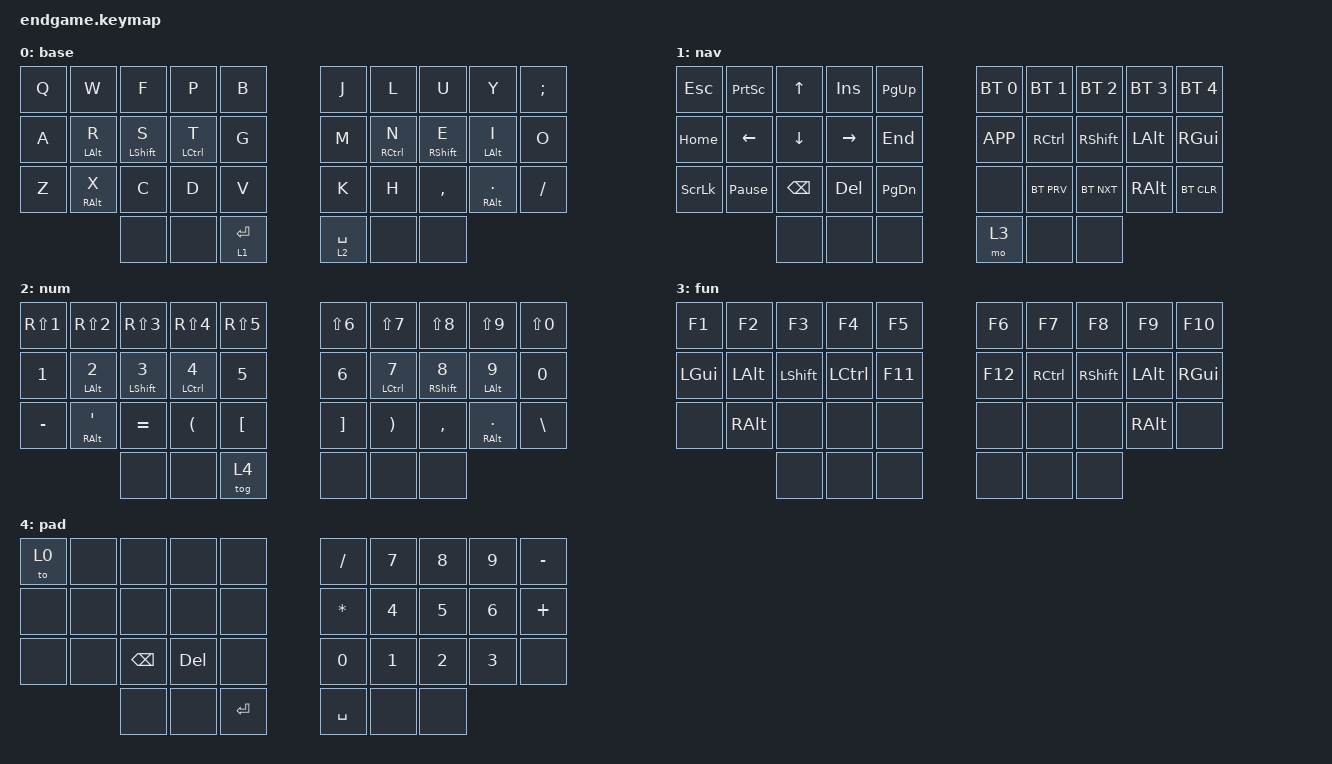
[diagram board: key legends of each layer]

//  ______ _      _____ _   _______ _____   ___  ___  ___ _____ 
//  | ___ \ |    |  ___| \ | |  _  \  __ \ / _ \ |  \/  ||  ___|
//  | |_/ / |    | |__ |  \| | | | | |  \// /_\ \| .  . || |__  
//  | ___ \ |    |  __|| . ` | | | | | __ |  _  || |\/| ||  __| 
//  | |_/ / |____| |___| |\  | |/ /| |_\ \| | | || |  | || |___ 
//  \____/\_____/\____/\_| \_/___/  \____/\_| |_/\_|  |_/\____/ 
//                                                              
//                                                              

/*
 * Copyright (c) 2021 The ZMK Contributors
 *
 * SPDX-License-Identifier: MIT
 */

#include <behaviors.dtsi>
#include <dt-bindings/zmk/keys.h>
#include <dt-bindings/zmk/bt.h>
#include <dt-bindings/zmk/outputs.h>
//#include "keys_de.h"

&caps_word {
    continue-list = <UNDERSCORE MINUS BSPC DEL>;
};

/ {
    behaviors {
        hmlc: homerow_mod_lctrl {
            compatible = "zmk,behavior-hold-tap";
            label = "HOMEROW_MODS";
            #binding-cells = <2>;
            tapping-term-ms = <150>;
            quick-tap-ms = <0>;
            flavor = "balanced";
            hold-trigger-key-positions = <5 6 7 8 9 15 16 17 18 19 25 26 27 28 29>;
            bindings = <&kp>, <&kp>;
        };
        hmrc: homerow_mod_rctrl {
            compatible = "zmk,behavior-hold-tap";
            label = "HOMEROW_MODS";
            #binding-cells = <2>;
            tapping-term-ms = <150>;
            quick-tap-ms = <0>;
            flavor = "balanced";
            hold-trigger-key-positions = <0 1 2 3 4 10 11 12 13 14 20 21 22 23 24>;
            bindings = <&kp>, <&kp>;
        };
        hmls: homerow_mod_lshift {
            compatible = "zmk,behavior-hold-tap";
            label = "HOMEROW_MODS";
            #binding-cells = <2>;
            tapping-term-ms = <150>;
            quick-tap-ms = <0>;
            flavor = "balanced";
            hold-trigger-key-positions = <5 6 7 8 9 15 16 17 18 19 25 26 27 28 29>;
            bindings = <&kp>, <&kp>;
        };
        hmrs: homerow_mod_rshift {
            compatible = "zmk,behavior-hold-tap";
            label = "HOMEROW_MODS";
            #binding-cells = <2>;
            tapping-term-ms = <180>;
            quick-tap-ms = <0>;
            flavor = "balanced";
            hold-trigger-key-positions = <0 1 2 3 4 10 11 12 13 14 20 21 22 23 24>;
            bindings = <&kp>, <&kp>;
        };
        hmg: homerow_mod_gui {
            compatible = "zmk,behavior-hold-tap";
            label = "HOMEROW_MODS";
            #binding-cells = <2>;
            tapping-term-ms = <500>;
            quick-tap-ms = <0>;
            flavor = "balanced";
            bindings = <&kp>, <&kp>;
        };
        hmla: homerow_mod_lalt {
            compatible = "zmk,behavior-hold-tap";
            label = "HOMEROW_MODS";
            #binding-cells = <2>;
            tapping-term-ms = <400>;
            quick-tap-ms = <0>;
            flavor = "balanced";
            bindings = <&kp>, <&kp>;
        };
        hmra: homerow_mod_ralt {
            compatible = "zmk,behavior-hold-tap";
            label = "HOMEROW_MODS";
            #binding-cells = <2>;
            tapping-term-ms = <800>;
            quick-tap-ms = <0>;
            flavor = "tap-preferred";
            bindings = <&kp>, <&kp>;
        };
    };
};

/ {
    macros {
        MCR_QUOTE: MCR_QUOTE {
            compatible = "zmk,behavior-macro";
            #binding-cells = <0>;
            bindings
                = <&macro_press &kp LSHFT>
                , <&macro_tap &kp SQT>
                , <&macro_release &kp LSHFT>
                ;
        };

        MCR_SCH: MCR_SCH {
            compatible = "zmk,behavior-macro";
            #binding-cells = <0>;
            bindings
                = <&macro_tap &kp S>
                , <&macro_release &kp LSHIFT>
                , <&macro_release &kp RSHIFT>
                , <&macro_tap &kp C &kp H>
                ;
        };
    };
};

/ {

    chosen {
        zmk,battery = &vbatt;
    };

    vbatt: vbatt {
            compatible = "zmk,battery-nrf-vddh";
            label = "VBATT";
    };

    combos {
        compatible = "zmk,combos";

        Cmb_UmlA {
            bindings = <&kp RA(Q)>;
            key-positions = <0 10>;
            layers = <0>;
        };

        Cmb_UmlO {
            bindings = <&kp RA(P)>;
            key-positions = <9 19>;
            layers = <0>;
        };

        Cmb_UmlU {
            bindings = <&kp RA(Y)>;
            key-positions = <7 17>;
            layers = <0>;
        };

        Cmb_UmlS {
            bindings = <&kp RA(S)>;
            key-positions = <2 12>;
            layers = <0>;
        };

        Cmb_EUR {
            bindings = <&kp RA(N5)>;
            key-positions = <17 27>;
            layers = <0>;
        };

        Cmb_DQT {
            bindings = <&kp RSHFT(N2)>;
            key-positions = <1 11>;
            layers = <0>;
        };

        Cmb_Grave {
            bindings = <&kp GRAVE>;
            key-positions = <11 21>;
            layers = <2>;
        };

        Cmb_LGUI {
            bindings = <&kp LGUI>;
            key-positions = <10 20>;
            layers = <0 2>;
        };

        Cmb_RGUI {
            bindings = <&kp RGUI>;
            key-positions = <19 29>;
            layers = <0 2>;
        };

        Cmb_ESC {
            bindings = <&kp ESC>;
            key-positions = <0 1>;
            layers = <0 1 2 3 4>;
        };

        Cmb_TAB {
            bindings = <&kp TAB>;
            key-positions = <22 23>;
            layers = <0 1 2 4>;
        };

        Cmb_CLCKs {
            bindings = <&kp CLCK>;
            key-positions = <11 12 13>;
            layers = <1>;
        };

        Cmb_CapsWord {
            bindings = <&caps_word>;
            key-positions = <12 17>;
            layers = <0>;
        };

        Cmb_BSPC {
            bindings = <&kp BSPC>;
            key-positions = <26 27>;
            layers = <0 2 4>;
        };

        Cmb_DEL {
            bindings = <&kp DEL>;
            key-positions = <27 28>;
            layers = <0 2 4>;
        };

        Cmb_CtrlBSPC {
            bindings = <&kp LC(BSPC)>;
            key-positions = <26 27 28>;
            layers = <0 2>;
        };

        Cmb_CtrlDEL {
            bindings = <&kp LC(DEL)>;
            key-positions = <27 28 29>;
            layers = <0 2>;
        };

        Cmb_WordLeft {
            bindings = <&kp LC(LEFT)>;
            key-positions = <11 12>;
            layers = <1>;
        };

        Cmb_WordRight {
            bindings = <&kp LC(RIGHT)>;
            key-positions = <12 13>;
            layers = <1>;
        };

        Cmb_Cut {
            bindings = <&kp LC(X)>;
            key-positions = <20 21>;
            layers = <0>;
        };

        Cmb_Copy {
            bindings = <&kp LC(C)>;
            key-positions = <21 22>;
            layers = <0>;
        };

        Cmb_Paste {
            bindings = <&kp LC(V)>;
            key-positions = <20 21 22>;
            layers = <0>;
        };

        Cmb_Reset {
            bindings = <&bootloader>;
            key-positions = <11 12 13>;
            layers = <4>;
        };

        Cmb_LPAR {
            bindings = <&kp LPAR>;
            key-positions = <4 14>;
            layers = <0>;
        };

        Cmb_RPAR {
            bindings = <&kp RPAR>;
            key-positions = <5 15>;
            layers = <0>;
        };

        Cmb_LBKT {
            bindings = <&kp LBKT>;
            key-positions = <14 24>;
            layers = <0>;
        };

        Cmb_RBKT {
            bindings = <&kp RBKT>;
            key-positions = <15 25>;
            layers = <0>;
        };

        Cmb_MINUS {
            bindings = <&kp MINUS>;
            key-positions = <3 13>;
            layers = <0>;
        };

        Cmb_EQUAL {
            bindings = <&kp EQUAL>;
            key-positions = <6 16>;
            layers = <0>;
        };

        Cmb_MCR_QUOTE {
            bindings = <&MCR_QUOTE>;
            key-positions = <1 11>;
            layers = <2>;
        };

        Cmb_MCR_SCH {
            bindings = <&MCR_SCH>;
            key-positions = <12 22>;
        };
    };

    keymap {
        compatible = "zmk,keymap";

        base {
            label = "base";
            bindings = <
                &kp Q  &kp W         &kp F          &kp P          &kp B        &kp J        &kp L          &kp U          &kp Y           &kp SEMI
                &kp A  &hmla LALT R  &hmls LSHFT S  &hmlc LCTRL T  &kp G        &kp M        &hmrc RCTRL N  &hmrs RSHFT E  &hmla LALT I    &kp O
                &kp Z  &hmra RALT X  &kp C          &kp D          &kp V        &kp K        &kp H          &kp COMMA      &hmra RALT DOT  &kp FSLH
                                     &none          &none          &lt 1 RET    &lt 2 SPACE  &none          &none
            >;
        };

        nav {
            label = "nav";
            bindings = <
                &kp ESC   &kp PSCRN        &kp UP    &kp INS    &kp PG_UP    &bt BT_SEL 0  &bt BT_SEL 1  &bt BT_SEL 2  &bt BT_SEL 3  &bt BT_SEL 4
                &kp HOME  &kp LEFT         &kp DOWN  &kp RIGHT  &kp END      &kp K_APP     &kp RCTRL     &kp RSHFT     &kp LALT      &kp RGUI
                &kp SLCK  &kp PAUSE_BREAK  &kp BSPC  &kp DEL    &kp PG_DN    &none         &bt BT_PRV    &bt BT_NXT    &kp RALT      &bt BT_CLR
                                           &none     &none      &none        &mo 3         &none         &none
            >;
        };

        num {
            label = "num";
            bindings = <
                &kp RS(N1)  &kp RS(N2)      &kp RS(N3)      &kp RS(N4)      &kp RS(N5)    &kp LS(N6)  &kp LS(N7)      &kp LS(N8)      &kp LS(N9)      &kp LS(N0)
                &kp N1      &hmla LALT N2   &hmls LSHFT N3  &hmlc LCTRL N4  &kp N5        &kp N6      &hmrc LCTRL N7  &hmrs RSHFT N8  &hmla LALT N9   &kp N0
                &kp MINUS   &hmra RALT SQT  &kp EQUAL       &kp LPAR        &kp LBKT      &kp RBKT    &kp RPAR        &kp COMMA       &hmra RALT DOT  &kp BSLH
                                            &none           &none           &tog 4        &none       &none           &none
            >;
        };

        fun {
            label = "fun";
            bindings = <
                &kp F1    &kp F2    &kp F3     &kp F4     &kp F5     &kp F6   &kp F7     &kp F8     &kp F9    &kp F10
                &kp LGUI  &kp LALT  &kp LSHFT  &kp LCTRL  &kp F11    &kp F12  &kp RCTRL  &kp RSHFT  &kp LALT  &kp RGUI
                &none     &kp RALT  &none      &none      &none      &none    &none      &none      &kp RALT  &none
                                    &none      &none      &none      &none    &none      &none
            >;
        };

        pad {
            label = "pad";
            bindings = <
		        &to 0  &none  &none     &none    &none      &kp FSLH   &kp N7  &kp N8  &kp N9  &kp MINUS
                &none  &none  &none     &none    &none      &kp STAR   &kp N4  &kp N5  &kp N6  &kp PLUS
                &none  &none  &kp BSPC  &kp DEL  &none      &kp N0     &kp N1  &kp N2  &kp N3  &none
                              &none     &none    &kp RET    &kp SPACE  &none   &none 
            >;
        };
    };
};
